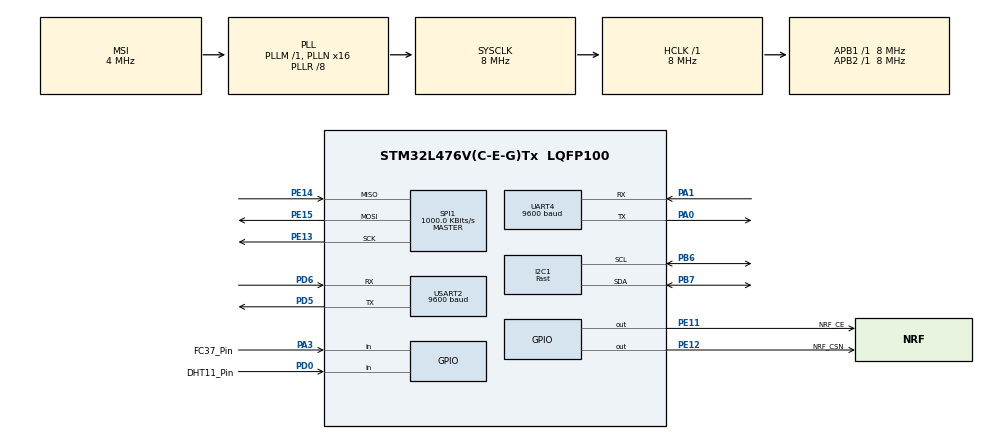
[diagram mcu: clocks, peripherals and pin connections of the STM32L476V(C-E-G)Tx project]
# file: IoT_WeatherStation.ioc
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I2C1.I2C_Speed_Mode=I2C_Fast
I2C1.Timing=0x0000020B
Mcu.Family=STM32L4
Mcu.Name=STM32L476V(C-E-G)Tx
Mcu.Package=LQFP100
NVIC.PriorityGroup=NVIC_PRIORITYGROUP_4
PA0.Mode=Asynchronous
PA0.Signal=UART4_TX
PA1.Mode=Asynchronous
PA1.Signal=UART4_RX
PA13\ (JTMS-SWDIO).Mode=Serial_Wire
PA13\ (JTMS-SWDIO).Signal=SYS_JTMS-SWDIO
PA14\ (JTCK-SWCLK).Mode=Serial_Wire
PA14\ (JTCK-SWCLK).Signal=SYS_JTCK-SWCLK
PA3.GPIO_Label=FC37_Pin
PA3.GPIO_PuPd=GPIO_PULLUP
PA3.Signal=GPIO_Input
PB6.Mode=I2C
PB6.Signal=I2C1_SCL
PB7.Mode=I2C
PB7.Signal=I2C1_SDA
PD0.GPIO_Label=DHT11_Pin
PD0.Signal=GPIO_Input
PD5.Mode=Asynchronous
PD5.Signal=USART2_TX
PD6.Mode=Asynchronous
PD6.Signal=USART2_RX
PE11.GPIO_Label=NRF_CE
PE11.GPIO_PuPd=GPIO_NOPULL
PE11.GPIO_Speed=GPIO_SPEED_FREQ_MEDIUM
PE11.Signal=GPIO_Output
PE12.GPIO_Label=NRF_CSN
PE12.GPIO_ModeDefaultOutputPP=GPIO_MODE_OUTPUT_PP
PE12.GPIO_PuPd=GPIO_NOPULL
PE12.GPIO_Speed=GPIO_SPEED_FREQ_MEDIUM
PE12.Signal=GPIO_Output
PE13.Mode=Full_Duplex_Master
PE13.Signal=SPI1_SCK
PE14.Mode=Full_Duplex_Master
PE14.Signal=SPI1_MISO
PE15.Mode=Full_Duplex_Master
PE15.Signal=SPI1_MOSI
ProjectManager.HeapSize=0x200
ProjectManager.StackSize=0x400
ProjectManager.TargetToolchain=STM32CubeIDE
RCC.ADCFreq_Value=16000000
RCC.AHBFreq_Value=8000000
RCC.APB1Freq_Value=8000000
RCC.APB1TimFreq_Value=8000000
RCC.APB2Freq_Value=8000000
RCC.APB2TimFreq_Value=8000000
RCC.CortexFreq_Value=8000000
RCC.HCLKFreq_Value=8000000
RCC.HSE_VALUE=8000000
RCC.HSI_VALUE=16000000
RCC.LSE_VALUE=32768
RCC.MSI_VALUE=4000000
RCC.PLLN=16
RCC.PLLR=RCC_PLLR_DIV8
RCC.SYSCLKFreq_VALUE=8000000
RCC.SYSCLKSource=RCC_SYSCLKSOURCE_PLLCLK
RCC.USBFreq_Value=16000000
RCC.VCOOutputFreq_Value=64000000
SPI1.BaudRatePrescaler=SPI_BAUDRATEPRESCALER_8
SPI1.CalculateBaudRate=1000.0 KBits/s
SPI1.DataSize=SPI_DATASIZE_8BIT
SPI1.Direction=SPI_DIRECTION_2LINES
SPI1.Mode=SPI_MODE_MASTER
SPI1.VirtualType=VM_MASTER
UART4.BaudRate=9600
USART2.BaudRate=9600
USART2.VirtualMode-Asynchronous=VM_ASYNC
board=custom

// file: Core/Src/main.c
/* USER CODE BEGIN Header */
/**
  ******************************************************************************
  * @file           : main.c
  * @brief          : Main program body
  ******************************************************************************
  * @attention
  *
  * <h2><center>&copy; Copyright (c) 2021 STMicroelectronics.
  * All rights reserved.</center></h2>
  *
  * This software component is licensed by ST under BSD 3-Clause license,
  * the "License"; You may not use this file except in compliance with the
  * License. You may obtain a copy of the License at:
  *                        opensource.org/licenses/BSD-3-Clause
  *
  ******************************************************************************
  */
/* USER CODE END Header */
#include "main.h"
#include "i2c.h"
#include "spi.h"
#include "usart.h"
#include "gpio.h"

/* USER CODE BEGIN Includes */
#include "bmpxx80.h"
#include "BH1750.h"
#include "stdio.h"
#include "DHT11.h"
#include "dwt_stm32_delay.h"
#include "NRF24L01.h"
/* USER CODE END Includes */

/* USER CODE BEGIN PV */
uint8_t tx_buffer[100];

uint8_t TxAddress[] = {0xEE,0xDD,0xCC,0xBB,0xAA};
uint8_t TxData[] = "Hello World\n";

uint8_t data[50];
/* USER CODE END PV */

void SystemClock_Config(void);

int main(void)
{

  /* MCU Configuration--------------------------------------------------------*/

  /* Reset of all peripherals, Initializes the Flash interface and the Systick. */
  HAL_Init();

  /* Configure the system clock */
  SystemClock_Config();

  /* Initialize all configured peripherals */
  MX_GPIO_Init();
  MX_I2C1_Init();
  MX_USART2_UART_Init();
  MX_UART4_Init();
  MX_SPI1_Init();
  /* USER CODE BEGIN 2 */

  BH1750_Init(&hi2c1);
  BH1750_SetMode(CONTINUOUS_HIGH_RES_MODE);

  BMP280_Init(&hi2c1, BMP280_TEMPERATURE_16BIT, BMP280_STANDARD, BMP280_FORCEDMODE);

  DWT_Delay_Init();

  NRF24_Init();
  NRF24_TxMode(TxAddress, 10);

  /* USER CODE END 2 */

  /* Infinite loop */
  /* USER CODE BEGIN WHILE */
  uint32_t BH1750_lx_value;
  uint32_t BMP280_presure;
  uint32_t BMP280_presure_hPa;
  uint32_t BMP280_presure_afterComa;
  //uint32_t BMP280_temperature;
  uint32_t DHT11_temperature;
  uint32_t DHT11_humidity;
  uint32_t FC37_status;
  int size;

  while (1)
  {
		DHT11_TempAndHumidity(&DHT11_temperature, &DHT11_humidity);
		/*size = sprintf((char*) tx_buffer, "DHT11:  %d st. C\r\n",
				(int) DHT11_temperature);
		HAL_UART_Transmit(&huart2, tx_buffer, size, 1000);
		size = sprintf((char*) tx_buffer, "DHT11:  %d %% \r\n",
				(int) DHT11_humidity);
		HAL_UART_Transmit(&huart2, tx_buffer, size, 1000);

		BMP280_temperature = BMP280_ReadTemperature();
		size = sprintf((char*) tx_buffer, "BMP280: %d st. C\r\n",
				(int) BMP280_temperature);
		HAL_UART_Transmit(&huart2, tx_buffer, size, 1000);*/

		BMP280_presure = BMP280_ReadPressure();
		BMP280_presure_hPa = BMP280_presure/100;
		BMP280_presure_afterComa = BMP280_presure - (BMP280_presure_hPa*100);

		/*size = sprintf((char*) tx_buffer, "BMP280: %d.%d hPa\r\n",
				(int) BMP280_presure_hPa, (int) BMP280_presure_afterComa);
		HAL_UART_Transmit(&huart2, tx_buffer, size, 1000);*/

		BH1750_ReadLight(&BH1750_lx_value);

		/*size = sprintf((char*) tx_buffer, "BH1750: %d lx\r\n",
				(int) BH1750_lx_value);
		HAL_UART_Transmit(&huart2, tx_buffer, size, 1000);*/

		if (HAL_GPIO_ReadPin(FC37_Pin_GPIO_Port, FC37_Pin_Pin)) {
			FC37_status = 1;
		// size = sprintf((char*) tx_buffer, "FC37:   It is raining!\r\n");
		} else {
			FC37_status = 0;
		// size = sprintf((char*) tx_buffer, "FC37:   It is not raining!\r\n");
		}
		/*HAL_UART_Transmit(&huart2, tx_buffer, size, 1000);*/

		size = sprintf((char*) tx_buffer, "{\"temp\":%d, \"hum\":%d, \"press\":%d.%d,"
				"\"light\":%d, \"batt\":4.58, \"rain\":%d}",
						(int) DHT11_temperature, 	(int) DHT11_humidity,
						(int) BMP280_presure_hPa, 	(int) BMP280_presure_afterComa,
						(int) BH1750_lx_value, 		(int) FC37_status);
		HAL_UART_Transmit(&huart2, tx_buffer, size, 1000);
/*
		if (NRF24_Transmit(TxData) == 1)
			{
			HAL_UART_Transmit(&huart2, "hey", 6, 1000);
			}
		else
			{
			HAL_UART_Transmit(&huart2, "kur", 6, 1000);
			}
*/
		DWT_Delay_us(5000000);

    /* USER CODE END WHILE */

  }
}

void SystemClock_Config(void)
{
  RCC_OscInitTypeDef RCC_OscInitStruct = {0};
  RCC_ClkInitTypeDef RCC_ClkInitStruct = {0};

  /** Configure the main internal regulator output voltage
  */
  if (HAL_PWREx_ControlVoltageScaling(PWR_REGULATOR_VOLTAGE_SCALE1) != HAL_OK)
  {
    Error_Handler();
  }
  /** Initializes the RCC Oscillators according to the specified parameters
  * in the RCC_OscInitTypeDef structure.
  */
  RCC_OscInitStruct.OscillatorType = RCC_OSCILLATORTYPE_MSI;
  RCC_OscInitStruct.MSIState = RCC_MSI_ON;
  RCC_OscInitStruct.MSICalibrationValue = 0;
  RCC_OscInitStruct.MSIClockRange = RCC_MSIRANGE_6;
  RCC_OscInitStruct.PLL.PLLState = RCC_PLL_ON;
  RCC_OscInitStruct.PLL.PLLSource = RCC_PLLSOURCE_MSI;
  RCC_OscInitStruct.PLL.PLLM = 1;
  RCC_OscInitStruct.PLL.PLLN = 16;
  RCC_OscInitStruct.PLL.PLLP = RCC_PLLP_DIV7;
  RCC_OscInitStruct.PLL.PLLQ = RCC_PLLQ_DIV2;
  RCC_OscInitStruct.PLL.PLLR = RCC_PLLR_DIV8;
  if (HAL_RCC_OscConfig(&RCC_OscInitStruct) != HAL_OK)
  {
    Error_Handler();
  }
  /** Initializes the CPU, AHB and APB buses clocks
  */
  RCC_ClkInitStruct.ClockType = RCC_CLOCKTYPE_HCLK|RCC_CLOCKTYPE_SYSCLK
                              |RCC_CLOCKTYPE_PCLK1|RCC_CLOCKTYPE_PCLK2;
  RCC_ClkInitStruct.SYSCLKSource = RCC_SYSCLKSOURCE_PLLCLK;
  RCC_ClkInitStruct.AHBCLKDivider = RCC_SYSCLK_DIV1;
  RCC_ClkInitStruct.APB1CLKDivider = RCC_HCLK_DIV1;
  RCC_ClkInitStruct.APB2CLKDivider = RCC_HCLK_DIV1;

  if (HAL_RCC_ClockConfig(&RCC_ClkInitStruct, FLASH_LATENCY_0) != HAL_OK)
  {
    Error_Handler();
  }
}

void Error_Handler(void)
{
  __disable_irq();
  while (1)
  {
  }
}

/************************ (C) COPYRIGHT STMicroelectronics *****END OF FILE****/
